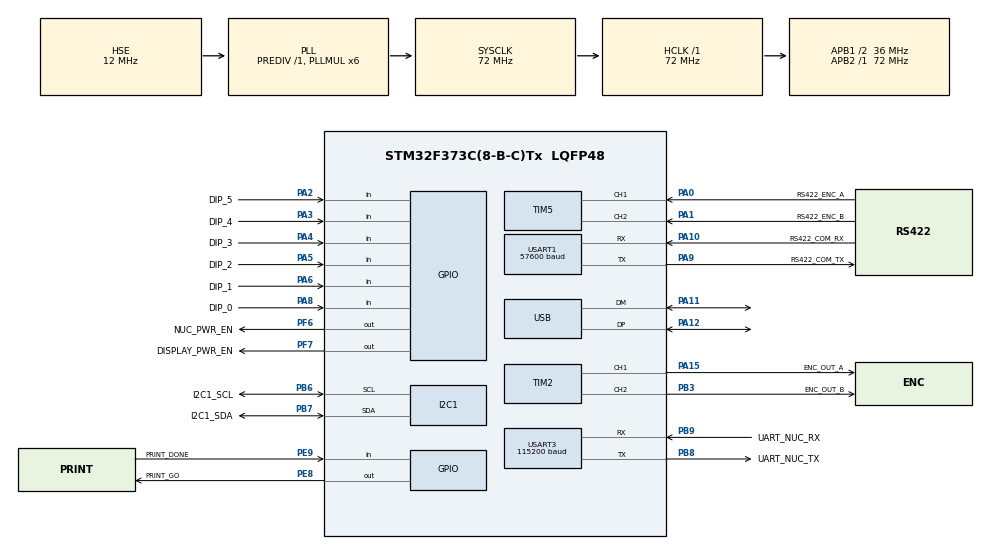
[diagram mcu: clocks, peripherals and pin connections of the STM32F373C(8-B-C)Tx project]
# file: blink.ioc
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Mcu.Family=STM32F3
Mcu.Name=STM32F373C(8-B-C)Tx
Mcu.Package=LQFP48
NVIC.PriorityGroup=NVIC_PRIORITYGROUP_4
NVIC.RCC_IRQn=true\:0\:0\:false\:false\:true\:true\:false\:true
NVIC.TIM2_IRQn=true\:0\:0\:false\:false\:true\:true\:true\:true
NVIC.TIM3_IRQn=true\:0\:0\:false\:false\:true\:true\:true\:true
NVIC.TIM5_IRQn=true\:0\:0\:false\:false\:true\:true\:true\:true
NVIC.USART3_IRQn=true\:0\:0\:false\:false\:true\:true\:true\:true
NVIC.USB_HP_IRQn=true\:0\:0\:false\:false\:true\:true\:true\:true
NVIC.USB_LP_IRQn=true\:0\:0\:false\:false\:true\:false\:true\:true
PA0.GPIO_Label=RS422_ENC_A
PA0.Signal=S_TIM5_CH1_ETR
PA1.GPIO_Label=RS422_ENC_B
PA1.Signal=S_TIM5_CH2
PA10.GPIO_Label=RS422_COM_RX
PA10.Mode=Asynchronous
PA10.Signal=USART1_RX
PA11.Mode=Device
PA11.Signal=USB_DM
PA12.Mode=Device
PA12.Signal=USB_DP
PA13.Mode=Serial_Wire
PA13.Signal=SYS_JTMS-SWDIO
PA14.Mode=Serial_Wire
PA14.Signal=SYS_JTCK-SWCLK
PA15.GPIO_Label=ENC_OUT_A
PA15.Signal=S_TIM2_CH1_ETR
PA2.GPIO_Label=DIP_5
PA2.Signal=GPIO_Input
PA3.GPIO_Label=DIP_4
PA3.Signal=GPIO_Input
PA4.GPIO_Label=DIP_3
PA4.Signal=GPIO_Input
PA5.GPIO_Label=DIP_2
PA5.Signal=GPIO_Input
PA6.GPIO_Label=DIP_1
PA6.Signal=GPIO_Input
PA8.GPIO_Label=DIP_0
PA8.Signal=GPIO_Input
PA9.GPIO_Label=RS422_COM_TX
PA9.Mode=Asynchronous
PA9.Signal=USART1_TX
PB3.GPIO_Label=ENC_OUT_B
PB3.Signal=S_TIM2_CH2
PB6.GPIO_Label=I2C1_SCL
PB6.Mode=I2C
PB6.Signal=I2C1_SCL
PB7.GPIO_Label=I2C1_SDA
PB7.Mode=I2C
PB7.Signal=I2C1_SDA
PB8.GPIO_Label=UART_NUC_TX
PB8.Mode=Asynchronous
PB8.Signal=USART3_TX
PB9.GPIO_Label=UART_NUC_RX
PB9.Mode=Asynchronous
PB9.Signal=USART3_RX
PE8.GPIO_Label=PRINT_GO
PE8.Signal=GPIO_Output
PE9.GPIO_Label=PRINT_DONE
PE9.Signal=GPIO_Input
PF0-OSC_IN.Mode=HSE-External-Oscillator
PF0-OSC_IN.Signal=RCC_OSC_IN
PF1-OSC_OUT.Mode=HSE-External-Oscillator
PF1-OSC_OUT.Signal=RCC_OSC_OUT
PF6.GPIO_Label=NUC_PWR_EN
PF6.Signal=GPIO_Output
PF7.GPIO_Label=DISPLAY_PWR_EN
PF7.Signal=GPIO_Output
ProjectManager.HeapSize=0x200
ProjectManager.StackSize=0x400
ProjectManager.TargetToolchain=STM32CubeIDE
RCC.AHBFreq_Value=72000000
RCC.APB1CLKDivider=RCC_HCLK_DIV2
RCC.APB1Freq_Value=36000000
RCC.APB1TimFreq_Value=72000000
RCC.APB2Freq_Value=72000000
RCC.APB2TimFreq_Value=72000000
RCC.CortexFreq_Value=72000000
RCC.HCLKFreq_Value=72000000
RCC.HSE_VALUE=12000000
RCC.HSI_VALUE=8000000
RCC.LSE_VALUE=32768
RCC.PLLMUL=RCC_PLL_MUL6
RCC.PRESCALERUSB=RCC_USBCLKSOURCE_PLL_DIV1_5
RCC.SYSCLKFreq_VALUE=72000000
RCC.SYSCLKSource=RCC_SYSCLKSOURCE_PLLCLK
RCC.USBFreq_Value=48000000
SH.S_TIM2_CH1_ETR.0=TIM2_CH1,PWM Generation1 CH1
SH.S_TIM2_CH2.0=TIM2_CH2,PWM Generation2 CH2
SH.S_TIM5_CH1_ETR.0=TIM5_CH1,Encoder_Interface
SH.S_TIM5_CH2.0=TIM5_CH2,Encoder_Interface
TIM2.Channel-PWM\ Generation1\ CH1=TIM_CHANNEL_1
TIM2.Channel-PWM\ Generation2\ CH2=TIM_CHANNEL_2
TIM3.AutoReloadPreload=TIM_AUTORELOAD_PRELOAD_DISABLE
TIM3.CounterMode=TIM_COUNTERMODE_DOWN
TIM3.Period=10000
TIM3.Prescaler=7200
USART1.BaudRate=57600
USART1.Parity=PARITY_ODD
USART1.VirtualMode-Asynchronous=VM_ASYNC
USART3.BaudRate=115200
USART3.VirtualMode-Asynchronous=VM_ASYNC
USB_DEVICE.CLASS_NAME_FS=CDC
USB_DEVICE.VirtualMode=Cdc
USB_DEVICE.VirtualModeFS=Cdc_FS
VP_TIM3_VS_ClockSourceINT.Mode=Internal
VP_USB_DEVICE_VS_USB_DEVICE_CDC_FS.Mode=CDC_FS
board=custom

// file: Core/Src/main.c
/* USER CODE BEGIN Header */
/**
  ******************************************************************************
  * @file           : main.c
  * @brief          : Main program body
  ******************************************************************************
  * @attention
  *
  * Copyright (c) 2024 STMicroelectronics.
  * All rights reserved.
  *
  * This software is licensed under terms that can be found in the LICENSE file
  * in the root directory of this software component.
  * If no LICENSE file comes with this software, it is provided AS-IS.
  *
  ******************************************************************************
  */
/* USER CODE END Header */
#include "main.h"
#include "usb_device.h"

/* USER CODE BEGIN Includes */

#include <math.h>
#include "enc.h"
#include "box.h"
#include "term.h"
#include "usbd_cdc_if.h"

#include "AD5593.h"

/* USER CODE END Includes */

/* USER CODE BEGIN PD */

#define CDC_TRANSMIT_TIMEOUT_MS 5 // Timeout for CDC transmission retry before abort

/* USER CODE END PD */

I2C_HandleTypeDef hi2c1;

TIM_HandleTypeDef htim2;
TIM_HandleTypeDef htim3;
TIM_HandleTypeDef htim5;

UART_HandleTypeDef huart1;
UART_HandleTypeDef huart3;

/* USER CODE BEGIN PV */
volatile uint8_t RxDataNUC;
volatile uint8_t RxDataFERAG;
static int _powerDisplay=12000;

// USB CDC handle
extern USBD_HandleTypeDef hUsbDeviceFS;

/* USER CODE END PV */

void SystemClock_Config(void);
static void MX_GPIO_Init(void);
static void MX_USART3_UART_Init(void);
static void MX_TIM3_Init(void);
static void MX_I2C1_Init(void);
static void MX_TIM2_Init(void);
static void MX_TIM5_Init(void);
static void MX_USART1_UART_Init(void);
/* USER CODE BEGIN PFP */

#define WRITE_PROTOTYPE int _write(int file, char *ptr, int len)

void powerCommand(const char* args);

static void _tick_10ms(int ticks);

/* USER CODE END PFP */

int main(void)
{

  /* MCU Configuration--------------------------------------------------------*/

  /* Reset of all peripherals, Initializes the Flash interface and the Systick. */
  HAL_Init();

  /* Configure the system clock */
  SystemClock_Config();

  /* Initialize all configured peripherals */
  MX_GPIO_Init();
  MX_USART3_UART_Init();
  MX_USB_DEVICE_Init();
  MX_TIM3_Init();
  MX_I2C1_Init();
  MX_TIM2_Init();
  MX_TIM5_Init();
  MX_USART1_UART_Init();
  /* USER CODE BEGIN 2 */

  HAL_TIM_Encoder_Start(&htim5, TIM_CHANNEL_ALL);

  // Kick off asynchronous UART RCV
  HAL_UART_Receive_IT(&huart1, (uint8_t*)&RxDataFERAG, 1);
  HAL_UART_Receive_IT(&huart3, (uint8_t*)&RxDataNUC, 1);

  term_init();
  enc_init();
  box_init();

  power_nuc(TRUE);
//  power_display(TRUE);

  /* USER CODE END 2 */

  /* Infinite loop */
  /* USER CODE BEGIN WHILE */
	AD55936_init(&hi2c1, 0x10 << 1);
	int _ticks=0;
	while (1)
	{
    /* USER CODE END WHILE */

    /* USER CODE BEGIN 3 */
		int ticks= HAL_GetTick();

		while (ticks-_ticks>9)
		{
			_tick_10ms(ticks);
			_ticks=ticks;
			if (_powerDisplay && _ticks>_powerDisplay)
			{
				_powerDisplay=0;
				power_display(TRUE);
			}
		}
		box_idle();
		term_idle();
	}
  /* USER CODE END 3 */
}

void SystemClock_Config(void)
{
  RCC_OscInitTypeDef RCC_OscInitStruct = {0};
  RCC_ClkInitTypeDef RCC_ClkInitStruct = {0};
  RCC_PeriphCLKInitTypeDef PeriphClkInit = {0};

  /** Initializes the RCC Oscillators according to the specified parameters
  * in the RCC_OscInitTypeDef structure.
  */
  RCC_OscInitStruct.OscillatorType = RCC_OSCILLATORTYPE_HSI|RCC_OSCILLATORTYPE_HSE;
  RCC_OscInitStruct.HSEState = RCC_HSE_ON;
  RCC_OscInitStruct.HSEPredivValue = RCC_HSE_PREDIV_DIV1;
  RCC_OscInitStruct.HSIState = RCC_HSI_ON;
  RCC_OscInitStruct.HSICalibrationValue = RCC_HSICALIBRATION_DEFAULT;
  RCC_OscInitStruct.PLL.PLLState = RCC_PLL_ON;
  RCC_OscInitStruct.PLL.PLLSource = RCC_PLLSOURCE_HSE;
  RCC_OscInitStruct.PLL.PLLMUL = RCC_PLL_MUL6;
  if (HAL_RCC_OscConfig(&RCC_OscInitStruct) != HAL_OK)
  {
    Error_Handler();
  }

  /** Initializes the CPU, AHB and APB buses clocks
  */
  RCC_ClkInitStruct.ClockType = RCC_CLOCKTYPE_HCLK|RCC_CLOCKTYPE_SYSCLK
                              |RCC_CLOCKTYPE_PCLK1|RCC_CLOCKTYPE_PCLK2;
  RCC_ClkInitStruct.SYSCLKSource = RCC_SYSCLKSOURCE_PLLCLK;
  RCC_ClkInitStruct.AHBCLKDivider = RCC_SYSCLK_DIV1;
  RCC_ClkInitStruct.APB1CLKDivider = RCC_HCLK_DIV2;
  RCC_ClkInitStruct.APB2CLKDivider = RCC_HCLK_DIV1;

  if (HAL_RCC_ClockConfig(&RCC_ClkInitStruct, FLASH_LATENCY_2) != HAL_OK)
  {
    Error_Handler();
  }
  PeriphClkInit.PeriphClockSelection = RCC_PERIPHCLK_USB|RCC_PERIPHCLK_USART1
                              |RCC_PERIPHCLK_USART3|RCC_PERIPHCLK_I2C1;
  PeriphClkInit.Usart1ClockSelection = RCC_USART1CLKSOURCE_PCLK2;
  PeriphClkInit.Usart3ClockSelection = RCC_USART3CLKSOURCE_PCLK1;
  PeriphClkInit.I2c1ClockSelection = RCC_I2C1CLKSOURCE_HSI;
  PeriphClkInit.USBClockSelection = RCC_USBCLKSOURCE_PLL_DIV1_5;
  if (HAL_RCCEx_PeriphCLKConfig(&PeriphClkInit) != HAL_OK)
  {
    Error_Handler();
  }
}

static void MX_I2C1_Init(void)
{

  hi2c1.Instance = I2C1;
  hi2c1.Init.Timing = 0x2000090E;
  hi2c1.Init.OwnAddress1 = 0;
  hi2c1.Init.AddressingMode = I2C_ADDRESSINGMODE_7BIT;
  hi2c1.Init.DualAddressMode = I2C_DUALADDRESS_DISABLE;
  hi2c1.Init.OwnAddress2 = 0;
  hi2c1.Init.OwnAddress2Masks = I2C_OA2_NOMASK;
  hi2c1.Init.GeneralCallMode = I2C_GENERALCALL_DISABLE;
  hi2c1.Init.NoStretchMode = I2C_NOSTRETCH_DISABLE;
  if (HAL_I2C_Init(&hi2c1) != HAL_OK)
  {
    Error_Handler();
  }

  /** Configure Analogue filter
  */
  if (HAL_I2CEx_ConfigAnalogFilter(&hi2c1, I2C_ANALOGFILTER_ENABLE) != HAL_OK)
  {
    Error_Handler();
  }

  /** Configure Digital filter
  */
  if (HAL_I2CEx_ConfigDigitalFilter(&hi2c1, 0) != HAL_OK)
  {
    Error_Handler();
  }

}

static void MX_TIM2_Init(void)
{

  /* USER CODE BEGIN TIM2_Init 0 */
//	PWM for encoder output
  /* USER CODE END TIM2_Init 0 */

  TIM_MasterConfigTypeDef sMasterConfig = {0};
  TIM_OC_InitTypeDef sConfigOC = {0};

  htim2.Instance = TIM2;
  htim2.Init.Prescaler = 0;
  htim2.Init.CounterMode = TIM_COUNTERMODE_UP;
  htim2.Init.Period = 4294967295;
  htim2.Init.ClockDivision = TIM_CLOCKDIVISION_DIV1;
  htim2.Init.AutoReloadPreload = TIM_AUTORELOAD_PRELOAD_DISABLE;
  if (HAL_TIM_PWM_Init(&htim2) != HAL_OK)
  {
    Error_Handler();
  }
  sMasterConfig.MasterOutputTrigger = TIM_TRGO_RESET;
  sMasterConfig.MasterSlaveMode = TIM_MASTERSLAVEMODE_DISABLE;
  if (HAL_TIMEx_MasterConfigSynchronization(&htim2, &sMasterConfig) != HAL_OK)
  {
    Error_Handler();
  }
  sConfigOC.OCMode = TIM_OCMODE_PWM1;
  sConfigOC.Pulse = 0;
  sConfigOC.OCPolarity = TIM_OCPOLARITY_HIGH;
  sConfigOC.OCFastMode = TIM_OCFAST_DISABLE;
  if (HAL_TIM_PWM_ConfigChannel(&htim2, &sConfigOC, TIM_CHANNEL_1) != HAL_OK)
  {
    Error_Handler();
  }
  if (HAL_TIM_PWM_ConfigChannel(&htim2, &sConfigOC, TIM_CHANNEL_2) != HAL_OK)
  {
    Error_Handler();
  }
  HAL_TIM_MspPostInit(&htim2);

}

static void MX_TIM3_Init(void)
{

  TIM_ClockConfigTypeDef sClockSourceConfig = {0};
  TIM_MasterConfigTypeDef sMasterConfig = {0};

  htim3.Instance = TIM3;
  htim3.Init.Prescaler = 7200;
  htim3.Init.CounterMode = TIM_COUNTERMODE_DOWN;
  htim3.Init.Period = 10000;
  htim3.Init.ClockDivision = TIM_CLOCKDIVISION_DIV1;
  htim3.Init.AutoReloadPreload = TIM_AUTORELOAD_PRELOAD_DISABLE;
  if (HAL_TIM_Base_Init(&htim3) != HAL_OK)
  {
    Error_Handler();
  }
  sClockSourceConfig.ClockSource = TIM_CLOCKSOURCE_INTERNAL;
  if (HAL_TIM_ConfigClockSource(&htim3, &sClockSourceConfig) != HAL_OK)
  {
    Error_Handler();
  }
  sMasterConfig.MasterOutputTrigger = TIM_TRGO_RESET;
  sMasterConfig.MasterSlaveMode = TIM_MASTERSLAVEMODE_DISABLE;
  if (HAL_TIMEx_MasterConfigSynchronization(&htim3, &sMasterConfig) != HAL_OK)
  {
    Error_Handler();
  }
  /* USER CODE BEGIN TIM3_Init 2 */
	if (HAL_TIM_Base_Start_IT(&htim3) != HAL_OK) {
		Error_Handler();
	}
	HAL_TIM_Base_Start(&htim3);
  /* USER CODE END TIM3_Init 2 */

}

static void MX_TIM5_Init(void)
{

  TIM_Encoder_InitTypeDef sConfig = {0};
  TIM_MasterConfigTypeDef sMasterConfig = {0};

  htim5.Instance = TIM5;
  htim5.Init.Prescaler = 0;
  htim5.Init.CounterMode = TIM_COUNTERMODE_UP;
  htim5.Init.Period = 4294967295;
  htim5.Init.ClockDivision = TIM_CLOCKDIVISION_DIV1;
  htim5.Init.AutoReloadPreload = TIM_AUTORELOAD_PRELOAD_ENABLE;
  sConfig.EncoderMode = TIM_ENCODERMODE_TI12;
  sConfig.IC1Polarity = TIM_ICPOLARITY_RISING;
  sConfig.IC1Selection = TIM_ICSELECTION_DIRECTTI;
  sConfig.IC1Prescaler = TIM_ICPSC_DIV1;
  sConfig.IC1Filter = 10;
  sConfig.IC2Polarity = TIM_ICPOLARITY_RISING;
  sConfig.IC2Selection = TIM_ICSELECTION_DIRECTTI;
  sConfig.IC2Prescaler = TIM_ICPSC_DIV1;
  sConfig.IC2Filter = 10;
  if (HAL_TIM_Encoder_Init(&htim5, &sConfig) != HAL_OK)
  {
    Error_Handler();
  }
  sMasterConfig.MasterOutputTrigger = TIM_TRGO_RESET;
  sMasterConfig.MasterSlaveMode = TIM_MASTERSLAVEMODE_DISABLE;
  if (HAL_TIMEx_MasterConfigSynchronization(&htim5, &sMasterConfig) != HAL_OK)
  {
    Error_Handler();
  }

}

static void MX_USART1_UART_Init(void)
{

  /* USER CODE BEGIN USART1_Init 0 */

//---------------------- UART1: Communication to FERAG --------------------------------

  /* USER CODE END USART1_Init 0 */

  huart1.Instance = USART1;
  huart1.Init.BaudRate = 57600;
  huart1.Init.WordLength = UART_WORDLENGTH_9B;
  huart1.Init.StopBits = UART_STOPBITS_1;
  huart1.Init.Parity = UART_PARITY_ODD;
  huart1.Init.Mode = UART_MODE_TX_RX;
  huart1.Init.HwFlowCtl = UART_HWCONTROL_NONE;
  huart1.Init.OverSampling = UART_OVERSAMPLING_16;
  huart1.Init.OneBitSampling = UART_ONE_BIT_SAMPLE_DISABLE;
  huart1.AdvancedInit.AdvFeatureInit = UART_ADVFEATURE_NO_INIT;
  if (HAL_UART_Init(&huart1) != HAL_OK)
  {
    Error_Handler();
  }

}

static void MX_USART3_UART_Init(void)
{

  /* USER CODE BEGIN USART3_Init 0 */

//---------------------- UART3: Communication to NUC-PC --------------------------------

  /* USER CODE END USART3_Init 0 */

  huart3.Instance = USART3;
  huart3.Init.BaudRate = 115200;
  huart3.Init.WordLength = UART_WORDLENGTH_8B;
  huart3.Init.StopBits = UART_STOPBITS_1;
  huart3.Init.Parity = UART_PARITY_NONE;
  huart3.Init.Mode = UART_MODE_TX_RX;
  huart3.Init.HwFlowCtl = UART_HWCONTROL_NONE;
  huart3.Init.OverSampling = UART_OVERSAMPLING_16;
  huart3.Init.OneBitSampling = UART_ONE_BIT_SAMPLE_DISABLE;
  huart3.AdvancedInit.AdvFeatureInit = UART_ADVFEATURE_NO_INIT;
  if (HAL_UART_Init(&huart3) != HAL_OK)
  {
    Error_Handler();
  }

}

static void MX_GPIO_Init(void)
{
  GPIO_InitTypeDef GPIO_InitStruct = {0};

  /* GPIO Ports Clock Enable */
  __HAL_RCC_GPIOF_CLK_ENABLE();
  __HAL_RCC_GPIOA_CLK_ENABLE();
  __HAL_RCC_GPIOE_CLK_ENABLE();
  __HAL_RCC_GPIOB_CLK_ENABLE();

  /*Configure GPIO pin Output Level */
  HAL_GPIO_WritePin(PRINT_GO_GPIO_Port, PRINT_GO_Pin, GPIO_PIN_RESET);

  /*Configure GPIO pin Output Level */
  HAL_GPIO_WritePin(GPIOF, NUC_PWR_EN_Pin|DISPLAY_PWR_EN_Pin, GPIO_PIN_RESET);

  /*Configure GPIO pins : DIP_5_Pin DIP_4_Pin DIP_3_Pin DIP_2_Pin
                           DIP_1_Pin DIP_0_Pin */
  GPIO_InitStruct.Pin = DIP_5_Pin|DIP_4_Pin|DIP_3_Pin|DIP_2_Pin
                          |DIP_1_Pin|DIP_0_Pin;
  GPIO_InitStruct.Mode = GPIO_MODE_INPUT;
  GPIO_InitStruct.Pull = GPIO_NOPULL;
  HAL_GPIO_Init(GPIOA, &GPIO_InitStruct);

  /*Configure GPIO pin : PRINT_GO_Pin */
  GPIO_InitStruct.Pin = PRINT_GO_Pin;
  GPIO_InitStruct.Mode = GPIO_MODE_OUTPUT_PP;
  GPIO_InitStruct.Pull = GPIO_NOPULL;
  GPIO_InitStruct.Speed = GPIO_SPEED_FREQ_LOW;
  HAL_GPIO_Init(PRINT_GO_GPIO_Port, &GPIO_InitStruct);

  /*Configure GPIO pin : PRINT_DONE_Pin */
  GPIO_InitStruct.Pin = PRINT_DONE_Pin;
  GPIO_InitStruct.Mode = GPIO_MODE_INPUT;
  GPIO_InitStruct.Pull = GPIO_NOPULL;
  HAL_GPIO_Init(PRINT_DONE_GPIO_Port, &GPIO_InitStruct);

  /*Configure GPIO pins : NUC_PWR_EN_Pin DISPLAY_PWR_EN_Pin */
  GPIO_InitStruct.Pin = NUC_PWR_EN_Pin|DISPLAY_PWR_EN_Pin;
  GPIO_InitStruct.Mode = GPIO_MODE_OUTPUT_PP;
  GPIO_InitStruct.Pull = GPIO_NOPULL;
  GPIO_InitStruct.Speed = GPIO_SPEED_FREQ_LOW;
  HAL_GPIO_Init(GPIOF, &GPIO_InitStruct);

}

/* USER CODE BEGIN 4 */
//--- HAL_TIM_PeriodElapsedCallback -------------------------
void HAL_TIM_PeriodElapsedCallback(TIM_HandleTypeDef *htim)
{
	if (htim==&htim3) enc_in_irq(htim);
}

//--- enc_get_pos -------------------------------------
int32_t	enc_get_pos(void)
{
	return __HAL_TIM_GET_COUNTER(&htim5);
}

// UART RX Interrupt function override
void HAL_UART_RxCpltCallback(UART_HandleTypeDef *huart)
{
	if (huart->Instance == USART1)
	{
		box_handle_ferag_char(RxDataFERAG);
		HAL_UART_Receive_IT(&huart1, (uint8_t*)&RxDataFERAG, 1);
	}
	else if (huart->Instance == USART3)
	{
		term_handle_char(RxDataNUC);
		HAL_UART_Receive_IT(&huart3, (uint8_t*)&RxDataNUC, 1);
	}
}

//--- ferag_send_char -----------------------
void ferag_send_char(char data)
{
	HAL_UART_Transmit(&huart1, (uint8_t*)&data, 1, HAL_MAX_DELAY);
}

//--- _tick_10ms ---------------------
static void _tick_10ms(int ticks)
{
	box_tick_10ms(ticks);
	enc_tick_10ms(ticks);
}

//--- adc_get_value --------------------------
float adc_get_value(int no, float factor)
{
	uint16_t val;
	AD5593R_ReadADC(&hi2c1, 0x10 << 1, no, &val);
	return ((float)val * factor) / 4095.0;
}

//--- adc_get_temp --------------------------------------
float adc_get_temp(void)
{
    const float ADC_25 = 819.0; // ADC value at 25 degrees Celsius
    const float SLOPE = 2.654; // ADC counts per degree Celsius
	uint16_t val;
	AD5593R_ReadADC(&hi2c1, 0x10 << 1, 8, &val);
    return 25.0 + ((float)val - ADC_25) / SLOPE;
}

//--- adc_get_revision ------------------------------------
uint8_t adc_get_revision(float val)
{
	const float baseVoltage = 0.075f; // Base voltage (0.1V - 0.025V)
    const float increment = 0.1f; // Voltage increment per revision
    const float maxValidVoltage = 26.0f; // Example: max expected voltage, adjust based on your last revision

    if (val < baseVoltage || val > maxValidVoltage) return 0; // Invalid voltage

    return (uint8_t)floor((val - baseVoltage) / increment) + 1;
}

//--- gpio_get_dipswitches -------------------------------
uint8_t gpio_get_dipswitches(void)
{
    uint8_t dipswitches = 0;

    if (HAL_GPIO_ReadPin(DIP_0_GPIO_Port, DIP_0_Pin) == GPIO_PIN_SET) dipswitches |= 1 << 0;
    if (HAL_GPIO_ReadPin(DIP_1_GPIO_Port, DIP_1_Pin) == GPIO_PIN_SET) dipswitches |= 1 << 1;
    if (HAL_GPIO_ReadPin(DIP_2_GPIO_Port, DIP_2_Pin) == GPIO_PIN_SET) dipswitches |= 1 << 2;
    if (HAL_GPIO_ReadPin(DIP_3_GPIO_Port, DIP_3_Pin) == GPIO_PIN_SET) dipswitches |= 1 << 3;
    if (HAL_GPIO_ReadPin(DIP_4_GPIO_Port, DIP_4_Pin) == GPIO_PIN_SET) dipswitches |= 1 << 4;
    if (HAL_GPIO_ReadPin(DIP_5_GPIO_Port, DIP_5_Pin) == GPIO_PIN_SET) dipswitches |= 1 << 5;

    return dipswitches;
}

//--- power_nuc -----------------------------
void    power_nuc(int on)
{
	if (on) HAL_GPIO_WritePin(NUC_PWR_EN_GPIO_Port, NUC_PWR_EN_Pin, GPIO_PIN_SET);
	else 	HAL_GPIO_WritePin(NUC_PWR_EN_GPIO_Port, NUC_PWR_EN_Pin, GPIO_PIN_RESET);
}

//--- power_display -------------------------
void    power_display(int on)
{
	if (on) HAL_GPIO_WritePin(DISPLAY_PWR_EN_GPIO_Port, DISPLAY_PWR_EN_Pin, GPIO_PIN_SET);
	else 	HAL_GPIO_WritePin(DISPLAY_PWR_EN_GPIO_Port, DISPLAY_PWR_EN_Pin, GPIO_PIN_RESET);
}

// Retarget stdout to UART and CDC
WRITE_PROTOTYPE {
    int DataIdx;
    for (DataIdx = 0; DataIdx < len; DataIdx++) {
        // Transmit over USART3
        HAL_UART_Transmit(&huart3, (uint8_t*)&ptr[DataIdx], 1, HAL_MAX_DELAY);
    }

    // Check if USB CDC is connected before trying to transmit
    if (hUsbDeviceFS.dev_state == USBD_STATE_CONFIGURED) {
        uint32_t startTick = HAL_GetTick();
        for (DataIdx = 0; DataIdx < len; DataIdx++) {
            // Attempt to transmit over CDC, with timeout
            while (CDC_Transmit_FS((uint8_t*)&ptr[DataIdx], 1) == USBD_BUSY) {
                if (HAL_GetTick() - startTick > CDC_TRANSMIT_TIMEOUT_MS) {
                    break; // Exit if timeout is reached
                }
            }
        }
    }

    return len; // Return the number of characters written
}

/* USER CODE END 4 */

void Error_Handler(void)
{
	__disable_irq();
	while (1) {
	}
}
